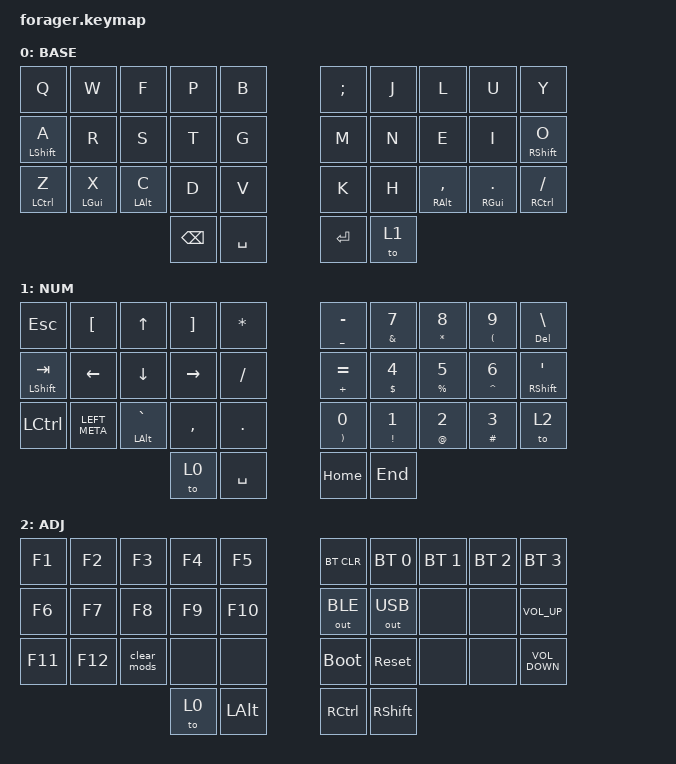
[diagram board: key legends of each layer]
/*
 * Copyright (c) 2020 The ZMK Contributors
 *
 * SPDX-License-Identifier: MIT
 */
//
//   Miryoku-style layout — Colemak-DH base, vim arrows (HJKL), GACS home row mods.
//   Adapted from the Corne (42-key) config to the Forager (34-key).
//   urob-inspired: timeless positional HRM, punctuation morphs, smart num.
//
//   Layer 0: BASE  — Colemak-DH + home row mods
//   Layer 1: NUM   — WASD Nav (left), Numpad (right) (hold right outer thumb; latching)
//   Layer 2: SYM   — symbols on left hand            (hold right RET thumb)
//   Layer 3: ADJ   — BT, output, studio, vol, reset  (hold from NUM layer)
//
//   A rendered diagram of this keymap lives at keymap-drawer/forager.svg
//   (auto-generated by the "Draw keymap" workflow).

#include <behaviors.dtsi>
#include <dt-bindings/zmk/bt.h>
#include <dt-bindings/zmk/keys.h>
#include <dt-bindings/zmk/outputs.h>

#define BASE 0
#define NUM  1
#define SYM  2
#define ADJ  3

// Forager key positions (34 keys):
// Row 0:  0  1  2  3  4     5  6  7  8  9
// Row 1: 10 11 12 13 14    15 16 17 18 19
// Row 2: 20 21 22 23 24    25 26 27 28 29
// Thumb:        30 31      32 33

#define KEYS_L 0 1 2 3 4 10 11 12 13 14 20 21 22 23 24
#define KEYS_R 5 6 7 8 9 15 16 17 18 19 25 26 27 28 29
#define THUMBS 30 31 32 33

&lt {
    flavor = "balanced";
    tapping-term-ms = <200>;
    quick-tap-ms = <175>;
};

/ {
    behaviors {
        // -- Timeless positional home row mods (urob-style) --
        // balanced + require-prior-idle + cross-hand-only trigger positions.

        hml: home_row_mod_left {
            compatible = "zmk,behavior-hold-tap";
            #binding-cells = <2>;
            flavor = "balanced";
            tapping-term-ms = <280>;
            quick-tap-ms = <175>;
            require-prior-idle-ms = <150>;
            bindings = <&kp>, <&kp>;

            hold-trigger-key-positions = <KEYS_R THUMBS>;
            hold-trigger-on-release;
        };

        hmr: home_row_mod_right {
            compatible = "zmk,behavior-hold-tap";
            #binding-cells = <2>;
            flavor = "balanced";
            tapping-term-ms = <280>;
            quick-tap-ms = <175>;
            require-prior-idle-ms = <150>;
            bindings = <&kp>, <&kp>;

            hold-trigger-key-positions = <KEYS_L THUMBS>;
            hold-trigger-on-release;
        };

        // -- Punctuation mod-morphs (urob-style) --
        // ,  -> shift: ;   ctrl+shift: <
        // .  -> shift: :   ctrl+shift: >

        comma_morph: comma_morph {
            compatible = "zmk,behavior-mod-morph";
            #binding-cells = <0>;
            bindings = <&kp COMMA>, <&comma_inner_morph>;

            mods = <(MOD_LSFT|MOD_RSFT)>;
        };

        comma_inner_morph: comma_inner_morph {
            compatible = "zmk,behavior-mod-morph";
            #binding-cells = <0>;
            bindings = <&kp SEMICOLON>, <&kp LESS_THAN>;

            mods = <(MOD_LCTL|MOD_RCTL)>;
        };

        dot_morph: dot_morph {
            compatible = "zmk,behavior-mod-morph";
            #binding-cells = <0>;
            bindings = <&kp DOT>, <&dot_inner_morph>;

            mods = <(MOD_LSFT|MOD_RSFT)>;
        };

        dot_inner_morph: dot_inner_morph {
            compatible = "zmk,behavior-mod-morph";
            #binding-cells = <0>;
            bindings = <&kp COLON>, <&kp GREATER_THAN>;

            mods = <(MOD_LCTL|MOD_RCTL)>;
        };

        // -- Num-word (urob-style, needs zmk-auto-layer module) --
        // Latches the NUM layer until a non-number key is pressed.
        // Triggered by the J+K combo so the R-outer thumb keeps an
        // instant, hold-to-repeat Backspace (&lt NUM BSPC).

        num_word: num_word {
            compatible = "zmk,behavior-auto-layer";
            #binding-cells = <1>;
            continue-list = <N0 N1 N2 N3 N4 N5 N6 N7 N8 N9 DOT COMMA MINUS PLUS ASTERISK SLASH EQUAL BSPC DEL>;
            ignore-modifiers;
        };

        as: auto_shift {
            compatible = "zmk,behavior-hold-tap";
            #binding-cells = <2>;
            tapping-term-ms = <250>;
            require-prior-idle-ms = <100>;
            flavor = "tap-preferred";
            bindings = <&kp>, <&kp>;
        };

        clear_mods: clear_mods {
            compatible = "zmk,behavior-macro";
            #binding-cells = <0>;
            wait-ms = <0>;
            tap-ms = <0>;
            bindings = <&macro_release &kp LSHFT &kp RSHFT &kp LCTRL &kp RCTRL &kp LALT &kp RALT &kp LGUI &kp RGUI>;
        };
    };

    combos {
        compatible = "zmk,combos";

        // -- From old Forager config --

        combo_esc {
            bindings = <&kp ESC>;
            key-positions = <0 1>;          // Q + W
            layers = <0>;
            timeout-ms = <30>;
            require-prior-idle-ms = <150>;
        };

        // -- Tier 1: Essential (from Corne) --

        combo_caps_word {
            bindings = <&caps_word>;
            key-positions = <13 16>;        // F + J (index home row)
            layers = <0>;
            timeout-ms = <30>;
            require-prior-idle-ms = <150>;
        };

        // -- Tier 2: High Value (from Corne) --
        // -- Tier 3: Vertical Symbol Combos (from Corne) --

        repeat {
            bindings = <&key_repeat>;
            key-positions = <30 31>;
            timeout-ms = <60>;
            layers = <1 0>;
        };
    };

    keymap {
        compatible = "zmk,keymap";

        base_layer {
            display-name = "BASE";
            bindings = <
  &kp Q         &kp W        &kp F        &kp P          &kp B        &kp SEMI   &kp J  &kp L            &kp U          &kp Y
  &hml LSHFT A  &kp R        &kp S        &kp T          &kp G        &kp M      &kp N  &kp E            &kp I          &hmr RSHFT O
  &hml LCTRL Z  &hml LGUI X  &hml LALT C  &kp D          &kp V        &kp K      &kp H  &hmr RALT COMMA  &hmr RGUI DOT  &hmr RCTRL FSLH
                                          &kp BACKSPACE  &kp SPACE    &kp ENTER  &to 1
            >;
        };

        num_layer {
            display-name = "NUM";

            // ' key doubles as a right-hand shift (opposite-hand from LBKT/RBKT/GRAVE
            // on this layer), giving a fast chord for { } ~ that a lone key can't hold.

            bindings = <
  &kp ESC              &kp LBKT       &kp UP           &kp RBKT   &kp ASTERISK    &as UNDER MINUS  &as AMPERSAND N7     &as ASTERISK N8       &as LEFT_PARENTHESIS N9  &hmr DEL BSLH
  &hml LEFT_SHIFT TAB  &kp LEFT       &kp DOWN         &kp RIGHT  &kp SLASH       &as PLUS EQUAL   &as DOLLAR NUMBER_4  &as PERCENT N5        &as CARET NUMBER_6       &hmr RSHFT SINGLE_QUOTE
  &kp LCTRL            &kp LEFT_META  &hml LALT GRAVE  &kp COMMA  &kp DOT         &as RPAR N0      &as EXCL NUMBER_1    &as AT_SIGN NUMBER_2  &as HASH NUMBER_3        &to 2
                                                       &to 0      &kp SPACE       &kp HOME         &kp END
            >;
        };

        adj_layer {
            display-name = "ADJ";
            bindings = <
  &kp F1   &kp F2   &kp F3  &kp F4  &kp F5          &bt BT_CLR         &bt BT_SEL 0     &bt BT_SEL 1  &bt BT_SEL 2  &bt BT_SEL 3
  &kp F6   &kp F7   &kp F8  &kp F9  &kp F10         &out OUT_BLE       &out OUT_USB     &none         &none         &kp C_VOLUME_UP
  &kp F11  &kp F12  &clear_mods  &none   &none           &bootloader        &sys_reset       &none         &none         &kp C_VOLUME_DOWN
                            &to 0   &kp LEFT_ALT    &kp RIGHT_CONTROL  &kp RIGHT_SHIFT
            >;
        };
    };
};
